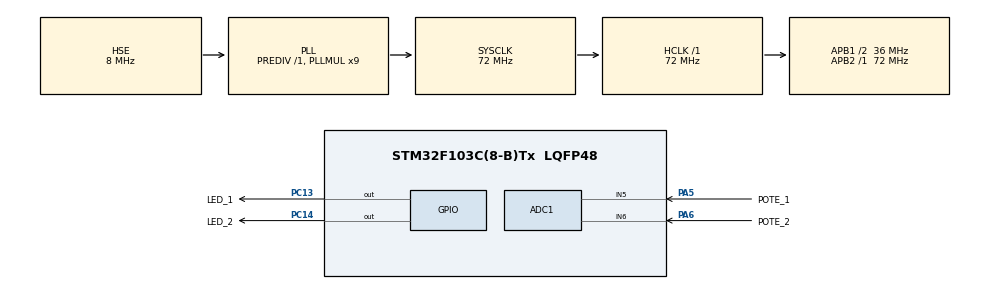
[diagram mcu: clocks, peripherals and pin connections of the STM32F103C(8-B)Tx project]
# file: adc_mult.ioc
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Mcu.Family=STM32F1
RCC.PLLSourceVirtual=RCC_PLLSOURCE_HSE
Dma.ADC1.0.Instance=DMA1_Channel1
ADC1.Rank-0\#ChannelRegularConversion=1
PD1-OSC_OUT.Mode=HSE-External-Oscillator
ADC1.ContinuousConvMode=ENABLE
SH.ADCx_IN6.0=ADC1_IN6,IN6
PC13-TAMPER-RTC.Signal=GPIO_Output
PA6.GPIO_Label=POTE_2
NVIC.TIM1_UP_IRQn=true\:0\:0\:false\:false\:true\:false\:true
PD0-OSC_IN.Signal=RCC_OSC_IN
RCC.APB1CLKDivider=RCC_HCLK_DIV2
PC14-OSC32_IN.Signal=GPIO_Output
RCC.SYSCLKSource=RCC_SYSCLKSOURCE_PLLCLK
ProjectManager.StackSize=0x400
PD1-OSC_OUT.Signal=RCC_OSC_OUT
RCC.ADCPresc=RCC_ADCPCLK2_DIV6
PA13.Signal=SYS_JTMS-SWDIO
Dma.ADC1.0.PeriphDataAlignment=DMA_PDATAALIGN_HALFWORD
ProjectManager.TargetToolchain=STM32CubeIDE
Dma.ADC1.0.Mode=DMA_CIRCULAR
ADC1.Channel-3\#ChannelRegularConversion=ADC_CHANNEL_6
RCC.HCLKFreq_Value=72000000
Dma.ADC1.0.Priority=DMA_PRIORITY_LOW
RCC.APB2TimFreq_Value=72000000
Dma.ADC1.0.Direction=DMA_PERIPH_TO_MEMORY
RCC.USBFreq_Value=72000000
Dma.ADC1.0.MemDataAlignment=DMA_MDATAALIGN_WORD
RCC.AHBFreq_Value=72000000
PD0-OSC_IN.Mode=HSE-External-Oscillator
PA5.Signal=ADCx_IN5
ADC1.Channel-0\#ChannelRegularConversion=ADC_CHANNEL_5
board=custom
PC13-TAMPER-RTC.GPIO_Label=LED_1
RCC.PLLMUL=RCC_PLL_MUL9
RCC.APB2Freq_Value=72000000
PA14.Mode=Serial_Wire
VP_SYS_VS_tim1.Mode=TIM1
Dma.ADC1.0.PeriphInc=DMA_PINC_DISABLE
ADC1.NbrOfConversion=2
PA13.Mode=Serial_Wire
Mcu.Name=STM32F103C(8-B)Tx
ADC1.SamplingTime-0\#ChannelRegularConversion=ADC_SAMPLETIME_1CYCLE_5
RCC.SYSCLKFreq_VALUE=72000000
Mcu.Package=LQFP48
PA6.Signal=ADCx_IN6
ADC1.master=1
NVIC.TimeBase=TIM1_UP_IRQn
PA5.GPIO_Label=POTE_1
ADC1.Rank-3\#ChannelRegularConversion=2
ADC1.SamplingTime-3\#ChannelRegularConversion=ADC_SAMPLETIME_1CYCLE_5
NVIC.TimeBaseIP=TIM1
PA14.Signal=SYS_JTCK-SWCLK
Dma.ADC1.0.MemInc=DMA_MINC_ENABLE
ProjectManager.HeapSize=0x200
SH.ADCx_IN5.0=ADC1_IN5,IN5
NVIC.PriorityGroup=NVIC_PRIORITYGROUP_4
ADC1.NbrOfConversionFlag=1
RCC.APB1TimFreq_Value=72000000
PC14-OSC32_IN.GPIO_Label=LED_2
NVIC.DMA1_Channel1_IRQn=true\:5\:0\:true\:false\:true\:false\:true
Dma.Request0=ADC1
RCC.APB1Freq_Value=36000000

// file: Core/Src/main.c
/* USER CODE BEGIN Header */
/*
 * The code consists of the following:
 *  - The ADC is set to transfer the conversions of 2 channels to a memory buffer via DMA. When the transfer is completed a semaphore will be released.
 *  - A task that is waiting for the semaphore will then read all the values saved in memory, calculate the average for each channel,
 *    and put the final values into a queue.
 *  - Another task reads from that queue and then will turn on/off the leds according to the value from each channel (led 1 is tied to
 *    channel 1 and led 2 to channel 2).
 */
/* USER CODE END Header */
#include "main.h"

/* USER CODE BEGIN Includes */
#include "FreeRTOS.h"
#include "task.h"
#include "semphr.h"
#include "queue.h"
/* USER CODE END Includes */

ADC_HandleTypeDef hadc1;
DMA_HandleTypeDef hdma_adc1;

void SystemClock_Config(void);
static void MX_GPIO_Init(void);
static void MX_DMA_Init(void);
static void MX_ADC1_Init(void);

/* USER CODE BEGIN 0 */

SemaphoreHandle_t transfer_completed;
QueueHandle_t adc_avg_values;

typedef struct {
	uint32_t chn1;
	uint32_t chn2;
}ADC_CHANNELS;

#define ADC_ARRAY_LENGTH 10
#define THRESHOLD_VALUE 2048

uint32_t adc_data[ADC_ARRAY_LENGTH]; // Add adc_data to live expressions to see how the buffer is filled

static void Adc(void *pvParameters){

	ADC_CHANNELS adc;
	uint32_t average, sum;

	// Starts ADC with DMA
	HAL_ADC_Start_DMA(&hadc1, adc_data, ADC_ARRAY_LENGTH);

	while (1){

		// Wait for DMA transfer to be completed
		xSemaphoreTake(transfer_completed, portMAX_DELAY);

		// Calculate the average for each channel
		adc.chn1 = 0;
		adc.chn2 = 0;

		for (uint32_t i=0; i<ADC_ARRAY_LENGTH; i++){

			if(i%2){
				adc.chn2 += adc_data[i];
			}
			else{
				adc.chn1 += adc_data[i];
			}

		}

		adc.chn1 = adc.chn1 / (ADC_ARRAY_LENGTH/2);
		adc.chn2 = adc.chn2 / (ADC_ARRAY_LENGTH/2);

		xQueueSend(adc_avg_values, &adc, portMAX_DELAY);

	}

}

static void Led(void *pvParameters){

	ADC_CHANNELS adc;

	while (1){

		xQueueReceive(adc_avg_values, &adc, portMAX_DELAY);

		// Led 1
		if ( adc.chn1 > THRESHOLD_VALUE ) {

			// If the value coming from the queue is greater than the threshold, turn on the led
			HAL_GPIO_WritePin(LED_1_GPIO_Port, LED_1_Pin, GPIO_PIN_RESET);

		}
		else {

			// Else turn it off
			HAL_GPIO_WritePin(LED_1_GPIO_Port, LED_1_Pin, GPIO_PIN_SET);

		}

		// Led 2
		if ( adc.chn2 > THRESHOLD_VALUE ) {
			HAL_GPIO_WritePin(LED_2_GPIO_Port, LED_2_Pin, GPIO_PIN_RESET);

		}
		else {
			HAL_GPIO_WritePin(LED_2_GPIO_Port, LED_2_Pin, GPIO_PIN_SET);

		}

	}
}

// Called when the buffer was filled
void HAL_ADC_ConvCpltCallback(ADC_HandleTypeDef* hadc){

	static portBASE_TYPE xHigherPriorityTaskWoken = pdFALSE;

	// Release the semaphore, indicating that the DMA transfer was completed
	xSemaphoreGiveFromISR(transfer_completed, xHigherPriorityTaskWoken);

	portEND_SWITCHING_ISR(xHigherPriorityTaskWoken);
}

/* USER CODE END 0 */

int main(void)
{

  /* MCU Configuration--------------------------------------------------------*/

  /* Reset of all peripherals, Initializes the Flash interface and the Systick. */
  HAL_Init();

  /* Configure the system clock */
  SystemClock_Config();

  /* Initialize all configured peripherals */
  MX_GPIO_Init();
  MX_DMA_Init();
  MX_ADC1_Init();
  /* USER CODE BEGIN 2 */

  vSemaphoreCreateBinary(transfer_completed);

  adc_avg_values = xQueueCreate(1, sizeof(ADC_CHANNELS));

  xTaskCreate(Adc, "Adc task", configMINIMAL_STACK_SIZE, NULL, 1, NULL);
  xTaskCreate(Led, "Led task", configMINIMAL_STACK_SIZE, NULL, 1, NULL);

  vTaskStartScheduler();

  /* USER CODE END 2 */

  /* Infinite loop */

}

void SystemClock_Config(void)
{
  RCC_OscInitTypeDef RCC_OscInitStruct = {0};
  RCC_ClkInitTypeDef RCC_ClkInitStruct = {0};
  RCC_PeriphCLKInitTypeDef PeriphClkInit = {0};

  /** Initializes the RCC Oscillators according to the specified parameters
  * in the RCC_OscInitTypeDef structure.
  */
  RCC_OscInitStruct.OscillatorType = RCC_OSCILLATORTYPE_HSE;
  RCC_OscInitStruct.HSEState = RCC_HSE_ON;
  RCC_OscInitStruct.HSEPredivValue = RCC_HSE_PREDIV_DIV1;
  RCC_OscInitStruct.HSIState = RCC_HSI_ON;
  RCC_OscInitStruct.PLL.PLLState = RCC_PLL_ON;
  RCC_OscInitStruct.PLL.PLLSource = RCC_PLLSOURCE_HSE;
  RCC_OscInitStruct.PLL.PLLMUL = RCC_PLL_MUL9;
  if (HAL_RCC_OscConfig(&RCC_OscInitStruct) != HAL_OK)
  {
    Error_Handler();
  }
  /** Initializes the CPU, AHB and APB buses clocks
  */
  RCC_ClkInitStruct.ClockType = RCC_CLOCKTYPE_HCLK|RCC_CLOCKTYPE_SYSCLK
                              |RCC_CLOCKTYPE_PCLK1|RCC_CLOCKTYPE_PCLK2;
  RCC_ClkInitStruct.SYSCLKSource = RCC_SYSCLKSOURCE_PLLCLK;
  RCC_ClkInitStruct.AHBCLKDivider = RCC_SYSCLK_DIV1;
  RCC_ClkInitStruct.APB1CLKDivider = RCC_HCLK_DIV2;
  RCC_ClkInitStruct.APB2CLKDivider = RCC_HCLK_DIV1;

  if (HAL_RCC_ClockConfig(&RCC_ClkInitStruct, FLASH_LATENCY_2) != HAL_OK)
  {
    Error_Handler();
  }
  PeriphClkInit.PeriphClockSelection = RCC_PERIPHCLK_ADC;
  PeriphClkInit.AdcClockSelection = RCC_ADCPCLK2_DIV6;
  if (HAL_RCCEx_PeriphCLKConfig(&PeriphClkInit) != HAL_OK)
  {
    Error_Handler();
  }
}

static void MX_ADC1_Init(void)
{

  ADC_ChannelConfTypeDef sConfig = {0};

  /** Common config
  */
  hadc1.Instance = ADC1;
  hadc1.Init.ScanConvMode = ADC_SCAN_ENABLE;
  hadc1.Init.ContinuousConvMode = ENABLE;
  hadc1.Init.DiscontinuousConvMode = DISABLE;
  hadc1.Init.ExternalTrigConv = ADC_SOFTWARE_START;
  hadc1.Init.DataAlign = ADC_DATAALIGN_RIGHT;
  hadc1.Init.NbrOfConversion = 2;
  if (HAL_ADC_Init(&hadc1) != HAL_OK)
  {
    Error_Handler();
  }
  /** Configure Regular Channel
  */
  sConfig.Channel = ADC_CHANNEL_5;
  sConfig.Rank = ADC_REGULAR_RANK_1;
  sConfig.SamplingTime = ADC_SAMPLETIME_1CYCLE_5;
  if (HAL_ADC_ConfigChannel(&hadc1, &sConfig) != HAL_OK)
  {
    Error_Handler();
  }
  /** Configure Regular Channel
  */
  sConfig.Channel = ADC_CHANNEL_6;
  sConfig.Rank = ADC_REGULAR_RANK_2;
  if (HAL_ADC_ConfigChannel(&hadc1, &sConfig) != HAL_OK)
  {
    Error_Handler();
  }

}

static void MX_DMA_Init(void)
{

  /* DMA controller clock enable */
  __HAL_RCC_DMA1_CLK_ENABLE();

  /* DMA interrupt init */
  /* DMA1_Channel1_IRQn interrupt configuration */
  HAL_NVIC_SetPriority(DMA1_Channel1_IRQn, 5, 0);
  HAL_NVIC_EnableIRQ(DMA1_Channel1_IRQn);

}

static void MX_GPIO_Init(void)
{
  GPIO_InitTypeDef GPIO_InitStruct = {0};

  /* GPIO Ports Clock Enable */
  __HAL_RCC_GPIOC_CLK_ENABLE();
  __HAL_RCC_GPIOD_CLK_ENABLE();
  __HAL_RCC_GPIOA_CLK_ENABLE();

  /*Configure GPIO pin Output Level */
  HAL_GPIO_WritePin(GPIOC, LED_1_Pin|LED_2_Pin, GPIO_PIN_RESET);

  /*Configure GPIO pins : LED_1_Pin LED_2_Pin */
  GPIO_InitStruct.Pin = LED_1_Pin|LED_2_Pin;
  GPIO_InitStruct.Mode = GPIO_MODE_OUTPUT_PP;
  GPIO_InitStruct.Pull = GPIO_NOPULL;
  GPIO_InitStruct.Speed = GPIO_SPEED_FREQ_LOW;
  HAL_GPIO_Init(GPIOC, &GPIO_InitStruct);

}

 /**
  * @brief  Period elapsed callback in non blocking mode
  * @note   This function is called  when TIM1 interrupt took place, inside
  * HAL_TIM_IRQHandler(). It makes a direct call to HAL_IncTick() to increment
  * a global variable "uwTick" used as application time base.
  * @param  htim : TIM handle
  * @retval None
  */
void HAL_TIM_PeriodElapsedCallback(TIM_HandleTypeDef *htim)
{
  if (htim->Instance == TIM1) {
    HAL_IncTick();
  }
}

void Error_Handler(void)
{
  __disable_irq();
  while (1)
  {
  }
}

/************************ (C) COPYRIGHT STMicroelectronics *****END OF FILE****/
